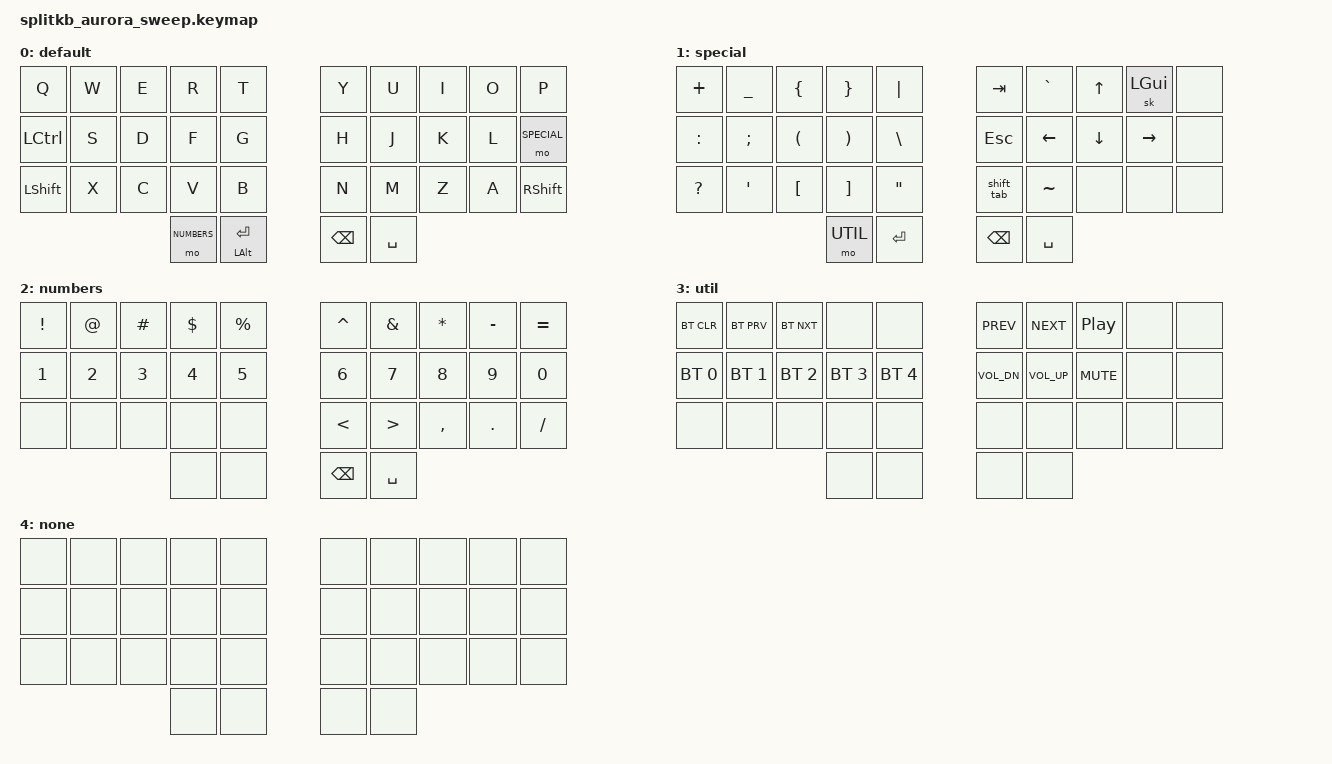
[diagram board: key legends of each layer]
#include <behaviors.dtsi>
#include <dt-bindings/zmk/keys.h>
#include <dt-bindings/zmk/bt.h>

#define TIMEOUT <200>
#define DEFAULT 0
#define SPECIAL 1
#define NUMBERS 2
#define UTIL 3

&mt {
  flavor = "balanced";
  tapping-term-ms = <150>;
};

/ {
  macros {
    ZMK_MACRO(shift_tab,
      bindings
        = <&macro_press &kp LSHIFT>
        , <&macro_tap &kp TAB>
        , <&macro_release &kp LSHIFT>
      ;
    )
  };

  keymap {
    compatible = "zmk,keymap";

    default {
      bindings = <
        &kp Q       &kp W &kp E &kp R &kp T      &kp Y &kp U   &kp I &kp O &kp P
        &kp LCTRL   &kp S &kp D &kp F &kp G      &kp H &kp J   &kp K &kp L &mo SPECIAL
        &kp LSHIFT  &kp X &kp C &kp V &kp B      &kp N &kp M   &kp Z &kp A &kp RSHIFT
        &mo NUMBERS &mt LALT ENTER               &kp BACKSPACE &kp SPACE
      >;
    };

    special {
      bindings = <
        &kp PLUS  &kp UNDER &kp LBRC &kp RBRC &kp PIPE     &kp TAB       &kp GRAVE &kp UP   &sk LGUI  &none
        &kp COLON &kp SEMI  &kp LPAR &kp RPAR &kp BSLH     &kp ESC       &kp LEFT  &kp DOWN &kp RIGHT &none
        &kp QMARK &kp SQT   &kp LBKT &kp RBKT &kp DQT      &shift_tab    &kp TILDE &none    &none     &none
        &mo UTIL  &kp ENTER                                &kp BACKSPACE &kp SPACE
      >;
    };

    numbers {
      bindings = <
        &kp EXCL &kp AT &kp HASH &kp DLLR &kp PRCNT      &kp CARET &kp AMPS &kp STAR  &kp MINUS &kp EQUAL
        &kp N1   &kp N2 &kp N3   &kp N4   &kp N5         &kp N6    &kp N7   &kp N8    &kp N9    &kp N0
        &none    &none  &none    &none    &none          &kp LT    &kp GT   &kp COMMA &kp DOT   &kp SLASH
        &none    &none                                   &kp BACKSPACE      &kp SPACE
      >;
    };

    util {
      bindings = <
        &bt BT_CLR   &bt BT_PRV   &bt BT_NXT   &none        &none           &kp C_PREV   &kp C_NEXT   &kp C_PP   &none &none
        &bt BT_SEL 0 &bt BT_SEL 1 &bt BT_SEL 2 &bt BT_SEL 3 &bt BT_SEL 4    &kp C_VOL_DN &kp C_VOL_UP &kp C_MUTE &none &none
        &none        &none        &none        &none        &none           &none &none  &none        &none      &none
        &none        &none                                                  &none &none
      >;
    };

    none {
      bindings = <
        &none &none &none &none &none      &none &none &none &none &none
        &none &none &none &none &none      &none &none &none &none &none
        &none &none &none &none &none      &none &none &none &none &none
                          &none &none      &none &none
      >;
    };
  };
};
